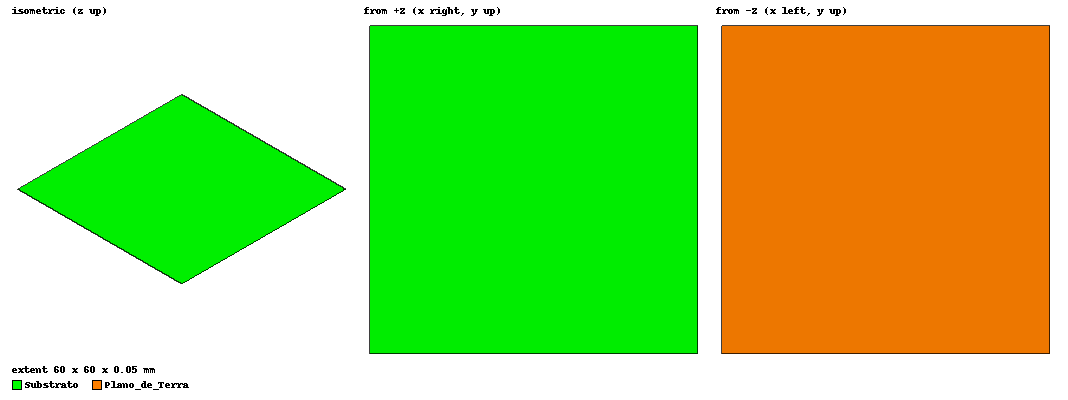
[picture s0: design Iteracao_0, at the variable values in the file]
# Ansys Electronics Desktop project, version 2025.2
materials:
  vacuum: permittivity=1
  PET_Alien: permittivity=3.2

design Iteracao_0 (HFSS, HFSS Hybrid Modal Network, model units mm)
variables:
  W_sub = 60mm
  L_sub = 60mm
  h = 0.05mm
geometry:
  Substrato [PET_Alien] = box(corner=(-W_sub/2, -L_sub/2, 0mm), size=(W_sub, L_sub, h))
  Plano_de_Terra = rectangle(corner=(-W_sub/2, -L_sub/2, 0mm), x_size=W_sub, y_size=L_sub)
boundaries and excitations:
  GND_PerfectE: Perfect E Objects=Plano_de_Terra
